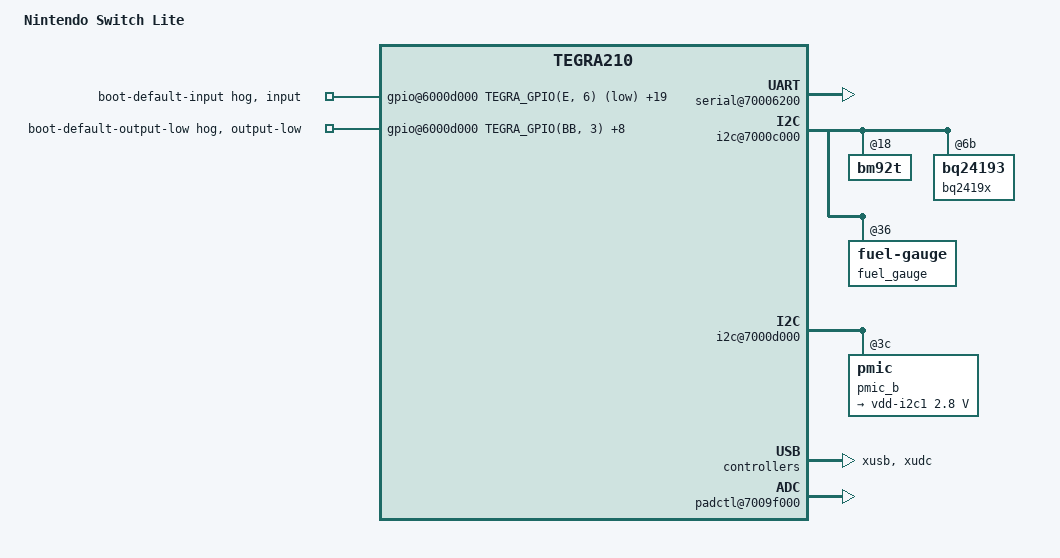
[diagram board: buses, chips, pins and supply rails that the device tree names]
// SPDX-License-Identifier: GPL-2.0
/dts-v1/;

#include "tegra210b01-nx.dtsi"

/ {
	model = "Nintendo Switch Lite";
	compatible = "nvidia,vali", "nintendo,hoag", "nintendo,nx", "nvidia,tegra210b01", "nvidia,tegra210";

	pinmux: pinmux@700008d4 {
		status = "okay";
		pinctrl-names = "default";
		pinctrl-0 = <&pinmux_default>;

		pinmux_default: common {
			/* SFIO Pin Configuration */
			aud_mclk_pbb0 { /* 3180 */
				nvidia,pins = "aud_mclk_pbb0";
				nvidia,function = "aud";
				nvidia,pull = <TEGRA_PIN_PULL_NONE>;
				nvidia,tristate = <TEGRA_PIN_DISABLE>;
				nvidia,enable-input = <TEGRA_PIN_DISABLE>;
				nvidia,pull-down-strength = <0x10>;
				nvidia,pull-up-strength = <0x10>;
			};

			dvfs_pwm_pbb1 { /* 3184 */
				nvidia,pins = "dvfs_pwm_pbb1";
				nvidia,function = "rsvd0";
				nvidia,pull = <TEGRA_PIN_PULL_DOWN>;
				nvidia,tristate = <TEGRA_PIN_ENABLE>;
				nvidia,enable-input = <TEGRA_PIN_DISABLE>;
				nvidia,pull-down-strength = <0x04>;
				nvidia,pull-up-strength = <0x14>;
			};

			dap1_din_pb1 { /* 3128 */
				nvidia,pins = "dap1_din_pb1";
				nvidia,function = "i2s1";
				nvidia,pull = <TEGRA_PIN_PULL_DOWN>;
				nvidia,tristate = <TEGRA_PIN_ENABLE>;
				nvidia,enable-input = <TEGRA_PIN_ENABLE>;
			};

			dap1_dout_pb2 { /* 312c */
				nvidia,pins = "dap1_dout_pb2";
				nvidia,function = "i2s1";
				nvidia,pull = <TEGRA_PIN_PULL_NONE>;
				nvidia,tristate = <TEGRA_PIN_DISABLE>;
				nvidia,enable-input = <TEGRA_PIN_DISABLE>;
			};

			dap1_fs_pb0 { /* 3124 */
				nvidia,pins = "dap1_fs_pb0";
				nvidia,function = "i2s1";
				nvidia,pull = <TEGRA_PIN_PULL_NONE>;
				nvidia,tristate = <TEGRA_PIN_DISABLE>;
				nvidia,enable-input = <TEGRA_PIN_DISABLE>;
			};

			dap1_sclk_pb3 { /* 3130 */
				nvidia,pins = "dap1_sclk_pb3";
				nvidia,function = "i2s1";
				nvidia,pull = <TEGRA_PIN_PULL_NONE>;
				nvidia,tristate = <TEGRA_PIN_DISABLE>;
				nvidia,enable-input = <TEGRA_PIN_DISABLE>;
			};

			dmic1_clk_pe0 { /* 30a4 */
				nvidia,pins = "dmic1_clk_pe0";
				nvidia,function = "rsvd2";
				nvidia,pull = <TEGRA_PIN_PULL_DOWN>;
				nvidia,tristate = <TEGRA_PIN_DISABLE>;
				nvidia,enable-input = <TEGRA_PIN_DISABLE>;
				nvidia,pull-down-strength = <0x10>;
				nvidia,pull-up-strength = <0x10>;
			};

			dmic1_dat_pe1 { /* 30a8 */
				nvidia,pins = "dmic1_dat_pe1";
				nvidia,function = "rsvd2";
				nvidia,pull = <TEGRA_PIN_PULL_DOWN>;
				nvidia,tristate = <TEGRA_PIN_DISABLE>;
				nvidia,enable-input = <TEGRA_PIN_DISABLE>;
				nvidia,pull-down-strength = <0x10>;
				nvidia,pull-up-strength = <0x10>;
			};

			dmic2_clk_pe2 { /* 30ac */
				nvidia,pins = "dmic2_clk_pe2";
				nvidia,function = "rsvd2";
				nvidia,pull = <TEGRA_PIN_PULL_DOWN>;
				nvidia,tristate = <TEGRA_PIN_DISABLE>;
				nvidia,enable-input = <TEGRA_PIN_DISABLE>;
				nvidia,pull-down-strength = <0x10>;
				nvidia,pull-up-strength = <0x10>;
			};

			dmic2_dat_pe3 { /* 30b0 */
				nvidia,pins = "dmic2_dat_pe3";
				nvidia,function = "rsvd2";
				nvidia,pull = <TEGRA_PIN_PULL_DOWN>;
				nvidia,tristate = <TEGRA_PIN_DISABLE>;
				nvidia,enable-input = <TEGRA_PIN_DISABLE>;
				nvidia,pull-down-strength = <0x10>;
				nvidia,pull-up-strength = <0x10>;
			};

			/* SD Card Power Enable */
			dmic3_clk_pe4 { /* 30b4 */
				nvidia,pins = "dmic3_clk_pe4";
				nvidia,function = "rsvd2";
				nvidia,pull = <TEGRA_PIN_PULL_DOWN>;
				nvidia,tristate = <TEGRA_PIN_DISABLE>;
				nvidia,enable-input = <TEGRA_PIN_DISABLE>;
				nvidia,pull-down-strength = <0x1F>;
				nvidia,pull-up-strength = <0x1F>;
			};

			/* Gamecard Power Enable */
			dmic3_dat_pe5 { /* 30b8 */
				nvidia,pins = "dmic3_dat_pe5";
				nvidia,function = "rsvd2";
				nvidia,pull = <TEGRA_PIN_PULL_DOWN>;
				nvidia,tristate = <TEGRA_PIN_ENABLE>;
				nvidia,enable-input = <TEGRA_PIN_DISABLE>;
				nvidia,pull-down-strength = <0x1F>;
				nvidia,pull-up-strength = <0x1F>;
			};

			gen3_i2c_scl_pf0 { /* 30cc */
				nvidia,pins = "gen3_i2c_scl_pf0";
				nvidia,function = "i2c3";
				nvidia,pull = <TEGRA_PIN_PULL_NONE>;
				nvidia,tristate = <TEGRA_PIN_DISABLE>;
				nvidia,enable-input = <TEGRA_PIN_ENABLE>;
				nvidia,io-high-voltage = <TEGRA_PIN_DISABLE>;
				nvidia,lpdr = <TEGRA_PIN_DISABLE>;
				nvidia,pull-down-strength = <0x7>;
				nvidia,pull-up-strength = <0x00>;
			};

			gen3_i2c_sda_pf1 { /* 30d0 */
				nvidia,pins = "gen3_i2c_sda_pf1";
				nvidia,function = "i2c3";
				nvidia,pull = <TEGRA_PIN_PULL_NONE>;
				nvidia,tristate = <TEGRA_PIN_DISABLE>;
				nvidia,enable-input = <TEGRA_PIN_ENABLE>;
				nvidia,io-high-voltage = <TEGRA_PIN_DISABLE>;
				nvidia,lpdr = <TEGRA_PIN_DISABLE>;
				nvidia,pull-down-strength = <0x7>;
				nvidia,pull-up-strength = <0x00>;
			};

			cam_i2c_scl_ps2 { /* 30d4 */
				nvidia,pins = "cam_i2c_scl_ps2";
				nvidia,function = "rsvd2";
				nvidia,pull = <TEGRA_PIN_PULL_DOWN>;
				nvidia,tristate = <TEGRA_PIN_ENABLE>;
				nvidia,enable-input = <TEGRA_PIN_DISABLE>;
				nvidia,io-high-voltage = <TEGRA_PIN_ENABLE>;
				nvidia,pull-down-strength = <0x1F>;
				nvidia,pull-up-strength = <0x00>;
			};

			/* Gamecard Detect */
			cam_i2c_sda_ps3 { /* 30d8 */
				nvidia,pins = "cam_i2c_sda_ps3";
				nvidia,function = "rsvd2";
				nvidia,pull = <TEGRA_PIN_PULL_UP>;
				nvidia,tristate = <TEGRA_PIN_ENABLE>;
				nvidia,enable-input = <TEGRA_PIN_ENABLE>;
				nvidia,io-high-voltage = <TEGRA_PIN_DISABLE>;
				nvidia,pull-down-strength = <0x1F>;
				nvidia,pull-up-strength = <0x00>;
			};

			cam1_mclk_ps0 { /* 3154 */
				nvidia,pins = "cam1_mclk_ps0";
				nvidia,function = "rsvd1";
				nvidia,pull = <TEGRA_PIN_PULL_DOWN>;
				nvidia,tristate = <TEGRA_PIN_ENABLE>;
				nvidia,enable-input = <TEGRA_PIN_DISABLE>;
				nvidia,pull-down-strength = <0x10>;
				nvidia,pull-up-strength = <0x10>;
			};

			/* Charger IC (BQ24193) Battery Charge Status */
			cam2_mclk_ps1 { /* 3158 */
				nvidia,pins = "cam2_mclk_ps1";
				nvidia,function = "rsvd1";
				nvidia,pull = <TEGRA_PIN_PULL_NONE>;
				nvidia,tristate = <TEGRA_PIN_ENABLE>;
				nvidia,enable-input = <TEGRA_PIN_ENABLE>;
				nvidia,pull-down-strength = <0x10>;
				nvidia,pull-up-strength = <0x10>;
			};

			pex_l0_clkreq_n_pa1 { /* 303c PARKED */
				nvidia,pins = "pex_l0_clkreq_n_pa1";
				nvidia,function = "pe0";
				nvidia,pull = <TEGRA_PIN_PULL_NONE>;
				nvidia,tristate = <TEGRA_PIN_ENABLE>;
				nvidia,enable-input = <TEGRA_PIN_DISABLE>;
				nvidia,io-high-voltage = <TEGRA_PIN_DISABLE>;
			};

			pex_l0_rst_n_pa0 { /* 3038 */
				nvidia,pins = "pex_l0_rst_n_pa0";
				nvidia,function = "pe0";
				nvidia,pull = <TEGRA_PIN_PULL_NONE>;
				nvidia,tristate = <TEGRA_PIN_DISABLE>;
				nvidia,enable-input = <TEGRA_PIN_DISABLE>;
				nvidia,io-high-voltage = <TEGRA_PIN_DISABLE>;
			};

			pex_l1_clkreq_n_pa4 { /* 3048 */
				nvidia,pins = "pex_l1_clkreq_n_pa4";
				nvidia,function = "pe1";
				nvidia,pull = <TEGRA_PIN_PULL_NONE>;
				nvidia,tristate = <TEGRA_PIN_DISABLE>;
				nvidia,enable-input = <TEGRA_PIN_ENABLE>;
				nvidia,io-high-voltage = <TEGRA_PIN_DISABLE>;
			};

			pex_l1_rst_n_pa3 { /* 3044 */
				nvidia,pins = "pex_l1_rst_n_pa3";
				nvidia,function = "pe1";
				nvidia,pull = <TEGRA_PIN_PULL_NONE>;
				nvidia,tristate = <TEGRA_PIN_DISABLE>;
				nvidia,enable-input = <TEGRA_PIN_DISABLE>;
				nvidia,io-high-voltage = <TEGRA_PIN_DISABLE>;
			};

			pex_wake_n_pa2 { /* 3040 */
				nvidia,pins = "pex_wake_n_pa2";
				nvidia,function = "pe";
				nvidia,pull = <TEGRA_PIN_PULL_NONE>;
				nvidia,tristate = <TEGRA_PIN_ENABLE>;
				nvidia,enable-input = <TEGRA_PIN_ENABLE>;
				nvidia,io-high-voltage = <TEGRA_PIN_DISABLE>;
			};

			sdmmc1_clk_pm0 { /* 3000 */
				nvidia,pins = "sdmmc1_clk_pm0";
				nvidia,function = "sdmmc1";
				nvidia,pull = <TEGRA_PIN_PULL_NONE>;
				nvidia,tristate = <TEGRA_PIN_DISABLE>;
				nvidia,enable-input = <TEGRA_PIN_ENABLE>;
			};

			sdmmc1_cmd_pm1 { /* 3004 */
				nvidia,pins = "sdmmc1_cmd_pm1";
				nvidia,function = "sdmmc1";
				nvidia,pull = <TEGRA_PIN_PULL_UP>;
				nvidia,tristate = <TEGRA_PIN_DISABLE>;
				nvidia,enable-input = <TEGRA_PIN_ENABLE>;
				nvidia,schmitt = <TEGRA_PIN_ENABLE>;
			};

			sdmmc1_dat0_pm5 { /* 3008 */
				nvidia,pins = "sdmmc1_dat0_pm5";
				nvidia,function = "sdmmc1";
				nvidia,pull = <TEGRA_PIN_PULL_UP>;
				nvidia,tristate = <TEGRA_PIN_DISABLE>;
				nvidia,enable-input = <TEGRA_PIN_ENABLE>;
				nvidia,schmitt = <TEGRA_PIN_ENABLE>;
			};

			sdmmc1_dat1_pm4 { /* 300C */
				nvidia,pins = "sdmmc1_dat1_pm4";
				nvidia,function = "sdmmc1";
				nvidia,pull = <TEGRA_PIN_PULL_UP>;
				nvidia,tristate = <TEGRA_PIN_DISABLE>;
				nvidia,enable-input = <TEGRA_PIN_ENABLE>;
				nvidia,schmitt = <TEGRA_PIN_ENABLE>;
			};

			sdmmc1_dat2_pm3 { /* 3010 */
				nvidia,pins = "sdmmc1_dat2_pm3";
				nvidia,function = "sdmmc1";
				nvidia,pull = <TEGRA_PIN_PULL_UP>;
				nvidia,tristate = <TEGRA_PIN_DISABLE>;
				nvidia,enable-input = <TEGRA_PIN_ENABLE>;
				nvidia,schmitt = <TEGRA_PIN_ENABLE>;
			};

			sdmmc1_dat3_pm2 { /* 3014 */
				nvidia,pins = "sdmmc1_dat3_pm2";
				nvidia,function = "sdmmc1";
				nvidia,pull = <TEGRA_PIN_PULL_UP>;
				nvidia,tristate = <TEGRA_PIN_DISABLE>;
				nvidia,enable-input = <TEGRA_PIN_ENABLE>;
				nvidia,schmitt = <TEGRA_PIN_ENABLE>;
			};

			sdmmc3_clk_pp0 { /* 301c */
				nvidia,pins = "sdmmc3_clk_pp0";
				nvidia,function = "rsvd1";
				nvidia,pull = <TEGRA_PIN_PULL_DOWN>;
				nvidia,tristate = <TEGRA_PIN_ENABLE>;
				nvidia,enable-input = <TEGRA_PIN_DISABLE>;
			};

			sdmmc3_cmd_pp1 { /* 3020 */
				nvidia,pins = "sdmmc3_cmd_pp1";
				nvidia,function = "rsvd1";
				nvidia,pull = <TEGRA_PIN_PULL_DOWN>;
				nvidia,tristate = <TEGRA_PIN_ENABLE>;
				nvidia,enable-input = <TEGRA_PIN_DISABLE>;
			};

			sdmmc3_dat0_pp5 { /* 3024 */
				nvidia,pins = "sdmmc3_dat0_pp5";
				nvidia,function = "rsvd1";
				nvidia,pull = <TEGRA_PIN_PULL_DOWN>;
				nvidia,tristate = <TEGRA_PIN_ENABLE>;
				nvidia,enable-input = <TEGRA_PIN_DISABLE>;
			};

			sdmmc3_dat1_pp4 { /* 3028 */
				nvidia,pins = "sdmmc3_dat1_pp4";
				nvidia,function = "rsvd1";
				nvidia,pull = <TEGRA_PIN_PULL_DOWN>;
				nvidia,tristate = <TEGRA_PIN_ENABLE>;
				nvidia,enable-input = <TEGRA_PIN_DISABLE>;
			};

			sdmmc3_dat2_pp3 { /* 302C */
				nvidia,pins = "sdmmc3_dat2_pp3";
				nvidia,function = "rsvd1";
				nvidia,pull = <TEGRA_PIN_PULL_DOWN>;
				nvidia,tristate = <TEGRA_PIN_ENABLE>;
				nvidia,enable-input = <TEGRA_PIN_DISABLE>;
			};

			sdmmc3_dat3_pp2 { /* 3030 */
				nvidia,pins = "sdmmc3_dat3_pp2";
				nvidia,function = "rsvd1";
				nvidia,pull = <TEGRA_PIN_PULL_DOWN>;
				nvidia,tristate = <TEGRA_PIN_ENABLE>;
				nvidia,enable-input = <TEGRA_PIN_DISABLE>;
			};

			shutdown { /* 3178 */
				nvidia,pins = "shutdown";
				nvidia,function = "shutdown";
				nvidia,pull = <TEGRA_PIN_PULL_NONE>;
				nvidia,tristate = <TEGRA_PIN_DISABLE>;
				nvidia,enable-input = <TEGRA_PIN_DISABLE>;
			};

			lcd_te_py2 { /* 31f8 */
				nvidia,pins = "lcd_te_py2";
				nvidia,function = "rsvd1";
				nvidia,pull = <TEGRA_PIN_PULL_DOWN>;
				nvidia,tristate = <TEGRA_PIN_ENABLE>;
				nvidia,enable-input = <TEGRA_PIN_DISABLE>;
			};

			// /* LCD Backlight PWM */
			// lcd_bl_pwm_pv0 { /* 31fc */
			// 	nvidia,pins = "lcd_bl_pwm_pv0";
			// 	nvidia,function = "pwm0";
			// 	nvidia,pull = <TEGRA_PIN_PULL_DOWN>;
			// 	nvidia,tristate = <TEGRA_PIN_DISABLE>;
			// 	nvidia,enable-input = <TEGRA_PIN_DISABLE>;
			// };

			/* Fan PWM */
			lcd_gpio2_pv4 { /* 320c */
				nvidia,pins = "lcd_gpio2_pv4";
				nvidia,function = "pwm1";
				nvidia,pull = <TEGRA_PIN_PULL_NONE>;
				nvidia,tristate = <TEGRA_PIN_DISABLE>;
				nvidia,enable-input = <TEGRA_PIN_DISABLE>;
			};

			pwr_i2c_scl_py3 { /* 30dc */
				nvidia,pins = "pwr_i2c_scl_py3";
				nvidia,function = "i2cpmu";
				nvidia,pull = <TEGRA_PIN_PULL_NONE>;
				nvidia,tristate = <TEGRA_PIN_DISABLE>;
				nvidia,enable-input = <TEGRA_PIN_ENABLE>;
				nvidia,io-high-voltage = <TEGRA_PIN_DISABLE>;
				nvidia,pull-down-strength = <0x1F>;
				nvidia,pull-up-strength = <0x00>;
			};

			pwr_i2c_sda_py4 { /* 30e0 */
				nvidia,pins = "pwr_i2c_sda_py4";
				nvidia,function = "i2cpmu";
				nvidia,pull = <TEGRA_PIN_PULL_NONE>;
				nvidia,tristate = <TEGRA_PIN_DISABLE>;
				nvidia,enable-input = <TEGRA_PIN_ENABLE>;
				nvidia,io-high-voltage = <TEGRA_PIN_DISABLE>;
				nvidia,pull-down-strength = <0x1F>;
				nvidia,pull-up-strength = <0x00>;
			};

			clk_32k_in { /* 3160 */
				nvidia,pins = "clk_32k_in";
				nvidia,function = "clk";
				nvidia,pull = <TEGRA_PIN_PULL_NONE>;
				nvidia,tristate = <TEGRA_PIN_DISABLE>;
				nvidia,enable-input = <TEGRA_PIN_DISABLE>;
			};

			/* Notification LED Clock */
			clk_32k_out_py5 { /* 3164 */
				nvidia,pins = "clk_32k_out_py5";
				nvidia,function = "blink";
				nvidia,pull = <TEGRA_PIN_PULL_NONE>;
				nvidia,tristate = <TEGRA_PIN_DISABLE>;
				nvidia,enable-input = <TEGRA_PIN_DISABLE>;
			};

			/* SD Card Detect */
			pz1 { /* 3280 */
				nvidia,pins = "pz1";
				nvidia,function = "rsvd2";
				nvidia,pull = <TEGRA_PIN_PULL_UP>;
				nvidia,tristate = <TEGRA_PIN_DISABLE>;
				nvidia,enable-input = <TEGRA_PIN_ENABLE>;
			};

			/* Audio Codec (ALC5639) Power Enable */
			pz4 { /* 328c */
				nvidia,pins = "pz4";
				nvidia,function = "rsvd1";
				nvidia,pull = <TEGRA_PIN_PULL_DOWN>;
				nvidia,tristate = <TEGRA_PIN_DISABLE>;
				nvidia,enable-input = <TEGRA_PIN_DISABLE>;
			};

			pz5 { /* 3290 */
				nvidia,pins = "pz5";
				nvidia,function = "rsvd1";
				nvidia,pull = <TEGRA_PIN_PULL_DOWN>;
				nvidia,tristate = <TEGRA_PIN_ENABLE>;
				nvidia,enable-input = <TEGRA_PIN_DISABLE>;
			};

			clk_req { /* 316c */
				nvidia,pins = "clk_req";
				nvidia,function = "sys";
				nvidia,pull = <TEGRA_PIN_PULL_NONE>;
				nvidia,tristate = <TEGRA_PIN_DISABLE>;
				nvidia,enable-input = <TEGRA_PIN_ENABLE>;
			};

			core_pwr_req { /* 317c */
				nvidia,pins = "core_pwr_req";
				nvidia,function = "core";
				nvidia,pull = <TEGRA_PIN_PULL_NONE>;
				nvidia,tristate = <TEGRA_PIN_DISABLE>;
				nvidia,enable-input = <TEGRA_PIN_DISABLE>;
			};

			cpu_pwr_req { /* 3170 */
				nvidia,pins = "cpu_pwr_req";
				nvidia,function = "cpu";
				nvidia,pull = <TEGRA_PIN_PULL_NONE>;
				nvidia,tristate = <TEGRA_PIN_DISABLE>;
				nvidia,enable-input = <TEGRA_PIN_ENABLE>;
			};

			pwr_int_n { /* 3174 */
				nvidia,pins = "pwr_int_n";
				nvidia,function = "pmi";
				nvidia,pull = <TEGRA_PIN_PULL_NONE>;
				nvidia,tristate = <TEGRA_PIN_DISABLE>;
				nvidia,enable-input = <TEGRA_PIN_ENABLE>;
			};

			dap4_din_pj5 { /* 3148 */
				nvidia,pins = "dap4_din_pj5";
				nvidia,function = "rsvd1";
				nvidia,pull = <TEGRA_PIN_PULL_DOWN>;
				nvidia,tristate = <TEGRA_PIN_ENABLE>;
				nvidia,enable-input = <TEGRA_PIN_DISABLE>;
				nvidia,pull-down-strength = <0x10>;
				nvidia,pull-up-strength = <0x10>;
			};

			/* NFC Power Enable */
			dap4_dout_pj6 { /* 314c */
				nvidia,pins = "dap4_dout_pj6";
				nvidia,function = "rsvd1";
				nvidia,pull = <TEGRA_PIN_PULL_DOWN>;
				nvidia,tristate = <TEGRA_PIN_DISABLE>;
				nvidia,enable-input = <TEGRA_PIN_DISABLE>;
				nvidia,pull-down-strength = <0x10>;
				nvidia,pull-up-strength = <0x10>;
			};

			/* NFC IRQ */
			dap4_fs_pj4 { /* 3144 */
				nvidia,pins = "dap4_fs_pj4";
				nvidia,function = "rsvd1";
				nvidia,pull = <TEGRA_PIN_PULL_DOWN>;
				nvidia,tristate = <TEGRA_PIN_ENABLE>;
				nvidia,enable-input = <TEGRA_PIN_ENABLE>;
				nvidia,pull-down-strength = <0x10>;
				nvidia,pull-up-strength = <0x10>;
			};

			/* Touchscreen (4CD60D) Reset */
			dap4_sclk_pj7 { /* 3150 */
				nvidia,pins = "dap4_sclk_pj7";
				nvidia,function = "rsvd1";
				nvidia,pull = <TEGRA_PIN_PULL_DOWN>;
				nvidia,tristate = <TEGRA_PIN_DISABLE>;
				nvidia,enable-input = <TEGRA_PIN_DISABLE>;
				nvidia,pull-down-strength = <0x10>;
				nvidia,pull-up-strength = <0x10>;
			};

			gen1_i2c_scl_pj1 { /* 30bc */
				nvidia,pins = "gen1_i2c_scl_pj1";
				nvidia,function = "i2c1";
				nvidia,pull = <TEGRA_PIN_PULL_NONE>;
				nvidia,tristate = <TEGRA_PIN_DISABLE>;
				nvidia,enable-input = <TEGRA_PIN_ENABLE>;
				nvidia,io-high-voltage = <TEGRA_PIN_DISABLE>;
				nvidia,pull-down-strength = <0x1F>;
				nvidia,pull-up-strength = <0x00>;
			};

			gen1_i2c_sda_pj0 { /* 30c0 */
				nvidia,pins = "gen1_i2c_sda_pj0";
				nvidia,function = "i2c1";
				nvidia,pull = <TEGRA_PIN_PULL_NONE>;
				nvidia,tristate = <TEGRA_PIN_DISABLE>;
				nvidia,enable-input = <TEGRA_PIN_ENABLE>;
				nvidia,io-high-voltage = <TEGRA_PIN_DISABLE>;
				nvidia,pull-down-strength = <0x1F>;
				nvidia,pull-up-strength = <0x00>;
			};

			gen2_i2c_scl_pj2 { /* 30c4 */
				nvidia,pins = "gen2_i2c_scl_pj2";
				nvidia,function = "i2c2";
				nvidia,pull = <TEGRA_PIN_PULL_NONE>;
				nvidia,tristate = <TEGRA_PIN_DISABLE>;
				nvidia,enable-input = <TEGRA_PIN_ENABLE>;
				nvidia,io-high-voltage = <TEGRA_PIN_DISABLE>;
				nvidia,pull-down-strength = <0x4>;
				nvidia,pull-up-strength = <0x00>;
			};

			gen2_i2c_sda_pj3 { /* 30c8 */
				nvidia,pins = "gen2_i2c_sda_pj3";
				nvidia,function = "i2c2";
				nvidia,pull = <TEGRA_PIN_PULL_NONE>;
				nvidia,tristate = <TEGRA_PIN_DISABLE>;
				nvidia,enable-input = <TEGRA_PIN_ENABLE>;
				nvidia,io-high-voltage = <TEGRA_PIN_DISABLE>;
				nvidia,pull-down-strength = <0x4>;
				nvidia,pull-up-strength = <0x00>;
			};

			uart1_tx_pu0 { /* 30e4 */
				nvidia,pins = "uart1_tx_pu0";
				nvidia,function = "uarta";
				nvidia,pull = <TEGRA_PIN_PULL_NONE>;
				nvidia,tristate = <TEGRA_PIN_DISABLE>;
				nvidia,enable-input = <TEGRA_PIN_DISABLE>;
			};

			uart1_rx_pu1 { /* 30e8 */
				nvidia,pins = "uart1_rx_pu1";
				nvidia,function = "uarta";
				nvidia,pull = <TEGRA_PIN_PULL_UP>;
				nvidia,tristate = <TEGRA_PIN_ENABLE>;
				nvidia,enable-input = <TEGRA_PIN_ENABLE>;
			};

			uart1_rts_pu2 { /* 30ec */
				nvidia,pins = "uart1_rts_pu2";
				nvidia,function = "uarta";
				nvidia,pull = <TEGRA_PIN_PULL_NONE>;
				nvidia,tristate = <TEGRA_PIN_DISABLE>;
				nvidia,enable-input = <TEGRA_PIN_DISABLE>;
			};

			uart1_cts_pu3 { /* 30f0 */
				nvidia,pins = "uart1_cts_pu3";
				nvidia,function = "uarta";
				nvidia,pull = <TEGRA_PIN_PULL_DOWN>;
				nvidia,tristate = <TEGRA_PIN_ENABLE>;
				nvidia,enable-input = <TEGRA_PIN_ENABLE>;
			};

			jtag_rtck { /* 315c */
				nvidia,pins = "jtag_rtck";
				nvidia,function = "jtag";
				nvidia,pull = <TEGRA_PIN_PULL_UP>;
				nvidia,tristate = <TEGRA_PIN_DISABLE>;
				nvidia,enable-input = <TEGRA_PIN_DISABLE>;
			};

			/* Bluetooth GPIO2 */
			pk0 { /* 3254 */
				nvidia,pins = "pk0";
				nvidia,function = "rsvd2";
				nvidia,pull = <TEGRA_PIN_PULL_DOWN>;
				nvidia,tristate = <TEGRA_PIN_DISABLE>;
				nvidia,enable-input = <TEGRA_PIN_ENABLE>;
			};

			/* Bluetooth GPIO3 */
			pk1 { /* 3258 */
				nvidia,pins = "pk1";
				nvidia,function = "rsvd2";
				nvidia,pull = <TEGRA_PIN_PULL_DOWN>;
				nvidia,tristate = <TEGRA_PIN_DISABLE>;
				nvidia,enable-input = <TEGRA_PIN_ENABLE>;
			};

			/* Bluetooth GPIO4 */
			pk2 { /* 325c */
				nvidia,pins = "pk2";
				nvidia,function = "rsvd2";
				nvidia,pull = <TEGRA_PIN_PULL_NONE>;
				nvidia,tristate = <TEGRA_PIN_DISABLE>;
				nvidia,enable-input = <TEGRA_PIN_ENABLE>;
			};

			/* Joycon (R) Charge Enable */
			pk3 { /* 3260 */
				nvidia,pins = "pk3";
				nvidia,function = "rsvd2";
				nvidia,pull = <TEGRA_PIN_PULL_DOWN>;
				nvidia,tristate = <TEGRA_PIN_ENABLE>;
				nvidia,enable-input = <TEGRA_PIN_DISABLE>;
			};

			/* Joycon (L) Charge Enable */
			spdif_in_pcc3 { /* 31a4 */
				nvidia,pins = "spdif_in_pcc3";
				nvidia,function = "rsvd1";
				nvidia,pull = <TEGRA_PIN_PULL_DOWN>;
				nvidia,tristate = <TEGRA_PIN_ENABLE>;
				nvidia,enable-input = <TEGRA_PIN_DISABLE>;
			};

			pl1 { /* 3278 */
				nvidia,pins = "pl1";
				nvidia,function = "soc";
				nvidia,pull = <TEGRA_PIN_PULL_UP>;
				nvidia,tristate = <TEGRA_PIN_ENABLE>;
				nvidia,enable-input = <TEGRA_PIN_ENABLE>;
			};

			spi1_mosi_pc0 { /* 3050 */
				nvidia,pins = "spi1_mosi_pc0";
				nvidia,function = "rsvd1";
				nvidia,pull = <TEGRA_PIN_PULL_DOWN>;
				nvidia,tristate = <TEGRA_PIN_ENABLE>;
				nvidia,enable-input = <TEGRA_PIN_DISABLE>;
			};

			spi1_miso_pc1 { /* 3054 */
				nvidia,pins = "spi1_miso_pc1";
				nvidia,function = "rsvd1";
				nvidia,pull = <TEGRA_PIN_PULL_DOWN>;
				nvidia,tristate = <TEGRA_PIN_ENABLE>;
				nvidia,enable-input = <TEGRA_PIN_DISABLE>;
			};

			spi1_sck_pc2 { /* 3058 */
				nvidia,pins = "spi1_sck_pc2";
				nvidia,function = "rsvd1";
				nvidia,pull = <TEGRA_PIN_PULL_DOWN>;
				nvidia,tristate = <TEGRA_PIN_ENABLE>;
				nvidia,enable-input = <TEGRA_PIN_DISABLE>;
			};

			spi1_cs0_pc3 { /* 305c */
				nvidia,pins = "spi1_cs0_pc3";
				nvidia,function = "rsvd1";
				nvidia,pull = <TEGRA_PIN_PULL_DOWN>;
				nvidia,tristate = <TEGRA_PIN_ENABLE>;
				nvidia,enable-input = <TEGRA_PIN_DISABLE>;
			};

			spi1_cs1_pc4 { /* 3060 */
				nvidia,pins = "spi1_cs1_pc4";
				nvidia,function = "rsvd1";
				nvidia,pull = <TEGRA_PIN_PULL_DOWN>;
				nvidia,tristate = <TEGRA_PIN_ENABLE>;
				nvidia,enable-input = <TEGRA_PIN_DISABLE>;
			};

			/* For Sio only access */
			spi4_mosi_pc7 { /* 3078 */
				nvidia,pins = "spi4_mosi_pc7";
				nvidia,function = "rsvd1";
				nvidia,pull = <TEGRA_PIN_PULL_NONE>;
				nvidia,tristate = <TEGRA_PIN_DISABLE>;
				nvidia,enable-input = <TEGRA_PIN_ENABLE>;
			};

			spi4_miso_pd0 { /* 307c */
				nvidia,pins = "spi4_miso_pd0";
				nvidia,function = "rsvd1";
				nvidia,pull = <TEGRA_PIN_PULL_NONE>;
				nvidia,tristate = <TEGRA_PIN_DISABLE>;
				nvidia,enable-input = <TEGRA_PIN_ENABLE>;
			};

			spi4_sck_pc5 { /* 3080 */
				nvidia,pins = "spi4_sck_pc5";
				nvidia,function = "rsvd1";
				nvidia,pull = <TEGRA_PIN_PULL_NONE>;
				nvidia,tristate = <TEGRA_PIN_DISABLE>;
				nvidia,enable-input = <TEGRA_PIN_ENABLE>;
			};

			spi4_cs0_pc6 { /* 0x3084 */
				nvidia,pins = "spi4_cs0_pc6";
				nvidia,function = "rsvd1";
				nvidia,pull = <TEGRA_PIN_PULL_NONE>;
				nvidia,tristate = <TEGRA_PIN_DISABLE>;
				nvidia,enable-input = <TEGRA_PIN_ENABLE>;
			};
			/* End of Sio only access */

			uart2_tx_pg0 { /* 30f4 */
				nvidia,pins = "uart2_tx_pg0";
				nvidia,function = "uartb";
				nvidia,pull = <TEGRA_PIN_PULL_DOWN>;
				nvidia,tristate = <TEGRA_PIN_ENABLE>;
				nvidia,enable-input = <TEGRA_PIN_DISABLE>;
			};

			uart2_rx_pg1 { /* 30f8 */
				nvidia,pins = "uart2_rx_pg1";
				nvidia,function = "uartb";
				nvidia,pull = <TEGRA_PIN_PULL_DOWN>;
				nvidia,tristate = <TEGRA_PIN_ENABLE>;
				nvidia,enable-input = <TEGRA_PIN_DISABLE>;
			};

			uart2_rts_pg2 { /* 30fc */
				nvidia,pins = "uart2_rts_pg2";
				nvidia,function = "rsvd2";
				nvidia,pull = <TEGRA_PIN_PULL_DOWN>;
				nvidia,tristate = <TEGRA_PIN_ENABLE>;
				nvidia,enable-input = <TEGRA_PIN_DISABLE>;
			};

			uart2_cts_pg3 { /* 3100 */
				nvidia,pins = "uart2_cts_pg3";
				nvidia,function = "rsvd2";
				nvidia,pull = <TEGRA_PIN_PULL_DOWN>;
				nvidia,tristate = <TEGRA_PIN_ENABLE>;
				nvidia,enable-input = <TEGRA_PIN_DISABLE>;
			};

			uart3_tx_pd1 { /* 3104 */
				nvidia,pins = "uart3_tx_pd1";
				nvidia,function = "uartc";
				nvidia,pull = <TEGRA_PIN_PULL_NONE>;
				nvidia,tristate = <TEGRA_PIN_DISABLE>;
				nvidia,enable-input = <TEGRA_PIN_DISABLE>;
				nvidia,pull-down-strength = <0x04>;
				nvidia,pull-up-strength = <0x14>;
			};

			uart3_rx_pd2 { /* 3108 */
				nvidia,pins = "uart3_rx_pd2";
				nvidia,function = "uartc";
				nvidia,pull = <TEGRA_PIN_PULL_NONE>;
				nvidia,tristate = <TEGRA_PIN_ENABLE>;
				nvidia,enable-input = <TEGRA_PIN_ENABLE>;
				nvidia,pull-down-strength = <0x04>;
				nvidia,pull-up-strength = <0x14>;
			};

			uart3_rts_pd3 { /* 310C */
				nvidia,pins = "uart3_rts_pd3";
				nvidia,function = "uartc";
				nvidia,pull = <TEGRA_PIN_PULL_NONE>;
				nvidia,tristate = <TEGRA_PIN_DISABLE>;
				nvidia,enable-input = <TEGRA_PIN_DISABLE>;
				nvidia,pull-down-strength = <0x04>;
				nvidia,pull-up-strength = <0x14>;
			};

			uart3_cts_pd4 { /* 3110 */
				nvidia,pins = "uart3_cts_pd4";
				nvidia,function = "uartc";
				nvidia,pull = <TEGRA_PIN_PULL_UP>;
				nvidia,tristate = <TEGRA_PIN_ENABLE>;
				nvidia,enable-input = <TEGRA_PIN_ENABLE>;
				nvidia,pull-down-strength = <0x04>;
				nvidia,pull-up-strength = <0x14>;
			};

			uart4_tx_pi4 { /* 3114 */
				nvidia,pins = "uart4_tx_pi4";
				nvidia,function = "uartd";
				nvidia,pull = <TEGRA_PIN_PULL_NONE>;
				nvidia,tristate = <TEGRA_PIN_DISABLE>;
				nvidia,enable-input = <TEGRA_PIN_DISABLE>;
			};

			uart4_rx_pi5 { /* 3118 */
				nvidia,pins = "uart4_rx_pi5";
				nvidia,function = "uartd";
				nvidia,pull = <TEGRA_PIN_PULL_DOWN>;
				nvidia,tristate = <TEGRA_PIN_ENABLE>;
				nvidia,enable-input = <TEGRA_PIN_ENABLE>;
			};

			uart4_rts_pi6 { /* 311c */
				nvidia,pins = "uart4_rts_pi6";
				nvidia,function = "uartd";
				nvidia,pull = <TEGRA_PIN_PULL_NONE>;
				nvidia,tristate = <TEGRA_PIN_DISABLE>;
				nvidia,enable-input = <TEGRA_PIN_DISABLE>;
			};

			uart4_cts_pi7 { /* 3120 */
				nvidia,pins = "uart4_cts_pi7";
				nvidia,function = "uartd";
				nvidia,pull = <TEGRA_PIN_PULL_DOWN>;
				nvidia,tristate = <TEGRA_PIN_ENABLE>;
				nvidia,enable-input = <TEGRA_PIN_ENABLE>;
			};

			dap2_din_paa2 { /* 3138 */
				nvidia,pins = "dap2_din_paa2";
				nvidia,function = "i2s2";
				nvidia,pull = <TEGRA_PIN_PULL_DOWN>;
				nvidia,tristate = <TEGRA_PIN_ENABLE>;
				nvidia,enable-input = <TEGRA_PIN_ENABLE>;
			};

			dap2_dout_paa3 { /* 313c */
				nvidia,pins = "dap2_dout_paa3";
				nvidia,function = "i2s2";
				nvidia,pull = <TEGRA_PIN_PULL_NONE>;
				nvidia,tristate = <TEGRA_PIN_DISABLE>;
				nvidia,enable-input = <TEGRA_PIN_DISABLE>;
			};

			dap2_fs_paa0 { /* 3134 */
				nvidia,pins = "dap2_fs_paa0";
				nvidia,function = "i2s2";
				nvidia,pull = <TEGRA_PIN_PULL_NONE>;
				nvidia,tristate = <TEGRA_PIN_DISABLE>;
				nvidia,enable-input = <TEGRA_PIN_DISABLE>;
			};

			dap2_sclk_paa1 { /* 3140 */
				nvidia,pins = "dap2_sclk_paa1";
				nvidia,function = "i2s2";
				nvidia,pull = <TEGRA_PIN_PULL_NONE>;
				nvidia,tristate = <TEGRA_PIN_DISABLE>;
				nvidia,enable-input = <TEGRA_PIN_DISABLE>;
			};

			/* 5V Regulator - USB */
			usb_vbus_en0_pcc4 { /* 31a8 */
				nvidia,pins = "usb_vbus_en0_pcc4";
				nvidia,function = "rsvd1";
				nvidia,pull = <TEGRA_PIN_PULL_DOWN>;
				nvidia,tristate = <TEGRA_PIN_ENABLE>;
				nvidia,enable-input = <TEGRA_PIN_DISABLE>;
				nvidia,io-high-voltage = <TEGRA_PIN_ENABLE>;
			};

			/* Sio POR */
			usb_vbus_en1_pcc5 { /* 31ac */
				nvidia,pins = "usb_vbus_en1_pcc5";
				nvidia,function = "rsvd1";
				nvidia,pull = <TEGRA_PIN_PULL_NONE>;
				nvidia,tristate = <TEGRA_PIN_DISABLE>;
				nvidia,enable-input = <TEGRA_PIN_DISABLE>;
				nvidia,io-high-voltage = <TEGRA_PIN_ENABLE>;
			};

			hdmi_cec_pcc0 { /* 3198 */
				nvidia,pins = "hdmi_cec_pcc0";
				nvidia,function = "rsvd1";
				nvidia,pull = <TEGRA_PIN_PULL_DOWN>;
				nvidia,tristate = <TEGRA_PIN_ENABLE>;
				nvidia,enable-input = <TEGRA_PIN_DISABLE>;
				nvidia,io-high-voltage = <TEGRA_PIN_ENABLE>;
			};

			/* GPIO Pin Configuration */
			dvfs_clk_pbb2 { /* 3188 */
				nvidia,pins = "dvfs_clk_pbb2";
				nvidia,function = "rsvd0";
				nvidia,pull = <TEGRA_PIN_PULL_DOWN>;
				nvidia,tristate = <TEGRA_PIN_ENABLE>;
				nvidia,enable-input = <TEGRA_PIN_DISABLE>;
				nvidia,pull-down-strength = <0x1F>;
				nvidia,pull-up-strength = <0x1F>;
			};

			/* Gamecard Reset */
			gpio_x1_aud_pbb3 { /* 318c */
				nvidia,pins = "gpio_x1_aud_pbb3";
				nvidia,function = "rsvd0";
				nvidia,pull = <TEGRA_PIN_PULL_DOWN>;
				nvidia,tristate = <TEGRA_PIN_DISABLE>;
				nvidia,enable-input = <TEGRA_PIN_DISABLE>;
				nvidia,pull-down-strength = <0x04>;
				nvidia,pull-up-strength = <0x14>;
			};

			/* Audio Codec (ALC5639) Alert */
			gpio_x3_aud_pbb4 { /* 3190 */
				nvidia,pins = "gpio_x3_aud_pbb4";
				nvidia,function = "rsvd0";
				nvidia,pull = <TEGRA_PIN_PULL_DOWN>;
				nvidia,tristate = <TEGRA_PIN_ENABLE>;
				nvidia,enable-input = <TEGRA_PIN_ENABLE>;
				nvidia,pull-down-strength = <0x04>;
				nvidia,pull-up-strength = <0x14>;
			};

			/* Joycon (L) Wake Detect */
			pe6 { /* 3248 */
				nvidia,pins = "pe6";
				nvidia,function = "rsvd0";
				nvidia,pull = <TEGRA_PIN_PULL_NONE>;
				nvidia,tristate = <TEGRA_PIN_ENABLE>;
				nvidia,enable-input = <TEGRA_PIN_ENABLE>;
			};

			cam_rst_ps4 { /* 31e0 */
				nvidia,pins = "cam_rst_ps4";
				nvidia,function = "rsvd1";
				nvidia,pull = <TEGRA_PIN_PULL_DOWN>;
				nvidia,tristate = <TEGRA_PIN_ENABLE>;
				nvidia,enable-input = <TEGRA_PIN_DISABLE>;
			};

			cam_af_en_ps5 { /* 31e4 */
				nvidia,pins = "cam_af_en_ps5";
				nvidia,function = "rsvd2";
				nvidia,pull = <TEGRA_PIN_PULL_DOWN>;
				nvidia,tristate = <TEGRA_PIN_ENABLE>;
				nvidia,enable-input = <TEGRA_PIN_DISABLE>;
				nvidia,pull-down-strength = <0x10>;
				nvidia,pull-up-strength = <0x10>;
			};

			/* Charger IC (BQ24193) Battery Charge Enable */
			cam_flash_en_ps6 { /* 31e8 */
				nvidia,pins = "cam_flash_en_ps6";
				nvidia,function = "rsvd2";
				nvidia,pull = <TEGRA_PIN_PULL_DOWN>;
				nvidia,tristate = <TEGRA_PIN_DISABLE>;
				nvidia,enable-input = <TEGRA_PIN_DISABLE>;
				nvidia,pull-down-strength = <0x10>;
				nvidia,pull-up-strength = <0x10>;
			};

			/* Fan Tachometer */
			cam1_pwdn_ps7 { /* 31ec */
				nvidia,pins = "cam1_pwdn_ps7";
				nvidia,function = "rsvd1";
				nvidia,pull = <TEGRA_PIN_PULL_NONE>;
				nvidia,tristate = <TEGRA_PIN_ENABLE>;
				nvidia,enable-input = <TEGRA_PIN_ENABLE>;
			};

			/* Sio BOOT0 */
			cam2_pwdn_pt0 { /* 31f0 */
				nvidia,pins = "cam2_pwdn_pt0";
				nvidia,function = "rsvd1";
				nvidia,pull = <TEGRA_PIN_PULL_DOWN>;
				nvidia,tristate = <TEGRA_PIN_DISABLE>;
				nvidia,enable-input = <TEGRA_PIN_DISABLE>;
			};

			/* Sio RST */
			cam1_strobe_pt1 { /* 31f4 */
				nvidia,pins = "cam1_strobe_pt1";
				nvidia,function = "rsvd1";
				nvidia,pull = <TEGRA_PIN_PULL_DOWN>;
				nvidia,tristate = <TEGRA_PIN_DISABLE>;
				nvidia,enable-input = <TEGRA_PIN_DISABLE>;
			};

			/* 5V Regulator - Battery */
			sata_led_active_pa5 { /* 304c */
				nvidia,pins = "sata_led_active_pa5";
				nvidia,function = "rsvd1";
				nvidia,pull = <TEGRA_PIN_PULL_NONE>;
				nvidia,tristate = <TEGRA_PIN_DISABLE>;
				nvidia,enable-input = <TEGRA_PIN_DISABLE>;
			};

			als_prox_int_px3 { /* 3228 */
				nvidia,pins = "als_prox_int_px3";
				nvidia,function = "rsvd0";
				nvidia,pull = <TEGRA_PIN_PULL_DOWN>;
				nvidia,tristate = <TEGRA_PIN_DISABLE>;
				nvidia,enable-input = <TEGRA_PIN_DISABLE>;
			};

			/* Temperature Sensor (TMP451) Alert */
			temp_alert_px4 { /* 322c */
				nvidia,pins = "temp_alert_px4";
				nvidia,function = "rsvd0";
				nvidia,pull = <TEGRA_PIN_PULL_UP>;
				nvidia,tristate = <TEGRA_PIN_ENABLE>;
				nvidia,enable-input = <TEGRA_PIN_ENABLE>;
			};

			/* Motion IRQ */
			motion_int_px2 { /* 3224 */
				nvidia,pins = "motion_int_px2";
				nvidia,function = "rsvd0";
				nvidia,pull = <TEGRA_PIN_PULL_DOWN>;
				nvidia,tristate = <TEGRA_PIN_ENABLE>;
				nvidia,enable-input = <TEGRA_PIN_ENABLE>;
			};

			/* Audio Codec (ALC5639) Headphone Detect */
			touch_rst_pv6 { /* 3214 */
				nvidia,pins = "touch_rst_pv6";
				nvidia,function = "rsvd0";
				nvidia,pull = <TEGRA_PIN_PULL_NONE>;
				nvidia,tristate = <TEGRA_PIN_ENABLE>;
				nvidia,enable-input = <TEGRA_PIN_ENABLE>;
			};

			/* Sio ext2 clk input */
			touch_clk_pv7 { /* 3218 */
				nvidia,pins = "touch_clk_pv7";
				nvidia,function = "touch";
				nvidia,pull = <TEGRA_PIN_PULL_DOWN>;
				nvidia,tristate = <TEGRA_PIN_DISABLE>;
				nvidia,enable-input = <TEGRA_PIN_DISABLE>;
				nvidia,pull-down-strength = <0x14>;
				nvidia,pull-up-strength = <0x14>;
			};

			/* Touchscreen (4CD60D) IRQ */
			touch_int_px1 { /* 3220 */
				nvidia,pins = "touch_int_px1";
				nvidia,function = "rsvd0";
				nvidia,pull = <TEGRA_PIN_PULL_UP>;
				nvidia,tristate = <TEGRA_PIN_ENABLE>;
				nvidia,enable-input = <TEGRA_PIN_ENABLE>;
			};

			modem_wake_ap_px0 { /* 321c */
				nvidia,pins = "modem_wake_ap_px0";
				nvidia,function = "rsvd0";
				nvidia,pull = <TEGRA_PIN_PULL_DOWN>;
				nvidia,tristate = <TEGRA_PIN_ENABLE>;
				nvidia,enable-input = <TEGRA_PIN_DISABLE>;
			};

			/* Power Button */
			button_power_on_px5 { /* 3230 */
				nvidia,pins = "button_power_on_px5";
				nvidia,function = "rsvd0";
				nvidia,pull = <TEGRA_PIN_PULL_NONE>;
				nvidia,tristate = <TEGRA_PIN_ENABLE>;
				nvidia,enable-input = <TEGRA_PIN_ENABLE>;
			};

			/* Volume Up Button */
			button_vol_up_px6 { /* 3234 */
				nvidia,pins = "button_vol_up_px6";
				nvidia,function = "rsvd0";
				nvidia,pull = <TEGRA_PIN_PULL_UP>;
				nvidia,tristate = <TEGRA_PIN_ENABLE>;
				nvidia,enable-input = <TEGRA_PIN_ENABLE>;
			};

			/* Volume Down Button */
			button_vol_down_px7 { /* 3238 */
				nvidia,pins = "button_vol_down_px7";
				nvidia,function = "rsvd0";
				nvidia,pull = <TEGRA_PIN_PULL_UP>;
				nvidia,tristate = <TEGRA_PIN_ENABLE>;
				nvidia,enable-input = <TEGRA_PIN_ENABLE>;
			};

			/* Home Button (RCM) */
			button_home_py1 { /* 3240 */
				nvidia,pins = "button_home_py1";
				nvidia,function = "rsvd0";
				nvidia,pull = <TEGRA_PIN_PULL_UP>;
				nvidia,tristate = <TEGRA_PIN_ENABLE>;
				nvidia,enable-input = <TEGRA_PIN_ENABLE>;
			};

			/* LCD Backlight Power Enable */
			lcd_bl_en_pv1 { /* 3200 */
				nvidia,pins = "lcd_bl_en_pv1";
				nvidia,function = "rsvd0";
				nvidia,pull = <TEGRA_PIN_PULL_DOWN>;
				nvidia,tristate = <TEGRA_PIN_DISABLE>;
				nvidia,enable-input = <TEGRA_PIN_DISABLE>;
			};

			/* LCD Reset */
			lcd_rst_pv2 { /* 3204 */
				nvidia,pins = "lcd_rst_pv2";
				nvidia,function = "rsvd0";
				nvidia,pull = <TEGRA_PIN_PULL_DOWN>;
				nvidia,tristate = <TEGRA_PIN_DISABLE>;
				nvidia,enable-input = <TEGRA_PIN_DISABLE>;
			};

			/* USB-PD (BM92T36) Reset */
			ap_ready_pv5 { /* 3210 */
				nvidia,pins = "ap_ready_pv5";
				nvidia,function = "rsvd0";
				nvidia,pull = <TEGRA_PIN_PULL_DOWN>;
				nvidia,tristate = <TEGRA_PIN_DISABLE>;
				nvidia,enable-input = <TEGRA_PIN_DISABLE>;
			};

			/* Charger IC (BQ24193) IRQ */
			pz0 { /* 327c */
				nvidia,pins = "pz0";
				nvidia,function = "rsvd1";
				nvidia,pull = <TEGRA_PIN_PULL_NONE>;
				nvidia,tristate = <TEGRA_PIN_ENABLE>;
				nvidia,enable-input = <TEGRA_PIN_ENABLE>;
			};

			/* SD Card Write Protect */
			pz3 { /* 3288 */
				nvidia,pins = "pz3";
				nvidia,function = "rsvd1";
				nvidia,pull = <TEGRA_PIN_PULL_UP>;
				nvidia,tristate = <TEGRA_PIN_ENABLE>;
				nvidia,enable-input = <TEGRA_PIN_ENABLE>;
			};

			/* USB-PD (BM92T36) IRQ */
			pk4 { /* 3264 */
				nvidia,pins = "pk4";
				nvidia,function = "rsvd1";
				nvidia,pull = <TEGRA_PIN_PULL_UP>;
				nvidia,tristate = <TEGRA_PIN_ENABLE>;
				nvidia,enable-input = <TEGRA_PIN_ENABLE>;
			};

			/* USB-PD (BM92T36) VCONN Power Enable */
			pk5 { /* 3268 */
				nvidia,pins = "pk5";
				nvidia,function = "rsvd1";
				nvidia,pull = <TEGRA_PIN_PULL_DOWN>;
				nvidia,tristate = <TEGRA_PIN_DISABLE>;
				nvidia,enable-input = <TEGRA_PIN_DISABLE>;
			};

			/* PMIC CPU (MAX77621_CPU) IRQ */
			pk6 { /* 326c */
				nvidia,pins = "pk6";
				nvidia,function = "rsvd1";
				nvidia,pull = <TEGRA_PIN_PULL_UP>;
				nvidia,tristate = <TEGRA_PIN_ENABLE>;
				nvidia,enable-input = <TEGRA_PIN_ENABLE>;
			};

			/* NFC Reset */
			pk7 { /* 3270 */
				nvidia,pins = "pk7";
				nvidia,function = "rsvd1";
				nvidia,pull = <TEGRA_PIN_PULL_DOWN>;
				nvidia,tristate = <TEGRA_PIN_DISABLE>;
				nvidia,enable-input = <TEGRA_PIN_DISABLE>;
			};

			pl0 { /* 3274 */
				nvidia,pins = "pl0";
				nvidia,function = "rsvd0";
				nvidia,pull = <TEGRA_PIN_PULL_DOWN>;
				nvidia,tristate = <TEGRA_PIN_ENABLE>;
				nvidia,enable-input = <TEGRA_PIN_DISABLE>;
			};

			/* Wi-Fi RF Disable */
			wifi_en_ph0 { /* 31b4 */
				nvidia,pins = "wifi_en_ph0";
				nvidia,function = "rsvd0";
				nvidia,pull = <TEGRA_PIN_PULL_DOWN>;
				nvidia,tristate = <TEGRA_PIN_DISABLE>;
				nvidia,enable-input = <TEGRA_PIN_DISABLE>;
			};

			/* Wi-Fi Reset */
			wifi_rst_ph1 { /* 31b8 */
				nvidia,pins = "wifi_rst_ph1";
				nvidia,function = "rsvd0";
				nvidia,pull = <TEGRA_PIN_PULL_DOWN>;
				nvidia,tristate = <TEGRA_PIN_DISABLE>;
				nvidia,enable-input = <TEGRA_PIN_DISABLE>;
			};

			/* Wi-Fi Wake Host */
			wifi_wake_ap_ph2 { /* 31bc */
				nvidia,pins = "wifi_wake_ap_ph2";
				nvidia,function = "rsvd0";
				nvidia,pull = <TEGRA_PIN_PULL_DOWN>;
				nvidia,tristate = <TEGRA_PIN_ENABLE>;
				nvidia,enable-input = <TEGRA_PIN_ENABLE>;
			};

			/* Bluetooth - AP -> Wake BT Module */
			ap_wake_bt_ph3 { /* 31c0 */
				nvidia,pins = "ap_wake_bt_ph3";
				nvidia,function = "rsvd0";
				nvidia,pull = <TEGRA_PIN_PULL_DOWN>;
				nvidia,tristate = <TEGRA_PIN_DISABLE>;
				nvidia,enable-input = <TEGRA_PIN_DISABLE>;
			};

			/* Bluetooth Reset */
			bt_rst_ph4 { /* 31c4 */
				nvidia,pins = "bt_rst_ph4";
				nvidia,function = "rsvd0";
				nvidia,pull = <TEGRA_PIN_PULL_DOWN>;
				nvidia,tristate = <TEGRA_PIN_DISABLE>;
				nvidia,enable-input = <TEGRA_PIN_DISABLE>;
			};

			/* Bluetooth - BT Module -> Wake AP */
			bt_wake_ap_ph5 { /* 31c8 */
				nvidia,pins = "bt_wake_ap_ph5";
				nvidia,function = "rsvd0";
				nvidia,pull = <TEGRA_PIN_PULL_NONE>;
				nvidia,tristate = <TEGRA_PIN_ENABLE>;
				nvidia,enable-input = <TEGRA_PIN_ENABLE>;
			};

			/* Joycon (R) Wake Detect */
			ph6 { /* 3250 */
				nvidia,pins = "ph6";
				nvidia,function = "rsvd0";
				nvidia,pull = <TEGRA_PIN_PULL_NONE>;
				nvidia,tristate = <TEGRA_PIN_ENABLE>;
				nvidia,enable-input = <TEGRA_PIN_ENABLE>;
			};

			/* Bluetooth GPIO5 */
			ap_wake_nfc_ph7 { /* 31cc */
				nvidia,pins = "ap_wake_nfc_ph7";
				nvidia,function = "rsvd0";
				nvidia,pull = <TEGRA_PIN_PULL_NONE>;
				nvidia,tristate = <TEGRA_PIN_DISABLE>;
				nvidia,enable-input = <TEGRA_PIN_DISABLE>;
			};

			/* LCD Power Enable +5V */
			nfc_en_pi0 { /* 31d0 */
				nvidia,pins = "nfc_en_pi0";
				nvidia,function = "rsvd0";
				nvidia,pull = <TEGRA_PIN_PULL_DOWN>;
				nvidia,tristate = <TEGRA_PIN_DISABLE>;
				nvidia,enable-input = <TEGRA_PIN_DISABLE>;
			};

			/* LCD Power Enable -5V */
			nfc_int_pi1 { /* 31d4 */
				nvidia,pins = "nfc_int_pi1";
				nvidia,function = "rsvd0";
				nvidia,pull = <TEGRA_PIN_PULL_DOWN>;
				nvidia,tristate = <TEGRA_PIN_DISABLE>;
				nvidia,enable-input = <TEGRA_PIN_DISABLE>;
			};

			gps_en_pi2 { /* 31d8 */
				nvidia,pins = "gps_en_pi2";
				nvidia,function = "rsvd0";
				nvidia,pull = <TEGRA_PIN_PULL_DOWN>;
				nvidia,tristate = <TEGRA_PIN_ENABLE>;
				nvidia,enable-input = <TEGRA_PIN_DISABLE>;
			};

			pcc7 { /* 3194 */
				nvidia,pins = "pcc7";
				nvidia,function = "rsvd0";
				nvidia,pull = <TEGRA_PIN_PULL_DOWN>;
				nvidia,tristate = <TEGRA_PIN_ENABLE>;
				nvidia,enable-input = <TEGRA_PIN_DISABLE>;
				nvidia,io-high-voltage = <TEGRA_PIN_ENABLE>;
			};

			dp_hpd0_pcc6 { /* 31b0 */
				nvidia,pins = "dp_hpd0_pcc6";
				nvidia,function = "rsvd1";
				nvidia,pull = <TEGRA_PIN_PULL_DOWN>;
				nvidia,tristate = <TEGRA_PIN_ENABLE>;
				nvidia,enable-input = <TEGRA_PIN_DISABLE>;
			};

			hdmi_int_dp_hpd_pcc1 { /* 319c */
				nvidia,pins = "hdmi_int_dp_hpd_pcc1";
				nvidia,function = "rsvd1";
				nvidia,pull = <TEGRA_PIN_PULL_DOWN>;
				nvidia,tristate = <TEGRA_PIN_ENABLE>;
				nvidia,enable-input = <TEGRA_PIN_DISABLE>;
				nvidia,io-high-voltage = <TEGRA_PIN_ENABLE>;
			};

			/* Fuel Gauge IC (MAX17050) IRQ */
			button_slide_sw_py0 { /* 323c */
				nvidia,pins = "button_slide_sw_py0";
				nvidia,function = "rsvd0";
				nvidia,pull = <TEGRA_PIN_PULL_NONE>;
				nvidia,tristate = <TEGRA_PIN_ENABLE>;
				nvidia,enable-input = <TEGRA_PIN_ENABLE>;
			};

			/* Sio IRQ */
			pe7 { /* 324c */
				nvidia,pins = "pe7";
				nvidia,function = "rsvd0";
				nvidia,pull = <TEGRA_PIN_PULL_UP>;
				nvidia,tristate = <TEGRA_PIN_ENABLE>;
				nvidia,enable-input = <TEGRA_PIN_ENABLE>;
			};

			/* Sio HOME button */
			lcd_gpio1_pv3 { /* 3208 */
				nvidia,pins = "lcd_gpio1_pv3";
				nvidia,function = "rsvd1";
				nvidia,pull = <TEGRA_PIN_PULL_UP>;
				nvidia,tristate = <TEGRA_PIN_ENABLE>;
				nvidia,enable-input = <TEGRA_PIN_ENABLE>;
			};

			/* Unused SPI2 pins */
			spi2_mosi_pb4 { /* 3064 */
				nvidia,pins = "spi2_mosi_pb4";
				nvidia,function = "rsvd2";
				nvidia,pull = <TEGRA_PIN_PULL_DOWN>;
				nvidia,tristate = <TEGRA_PIN_ENABLE>;
				nvidia,enable-input = <TEGRA_PIN_DISABLE>;
			};

			spi2_miso_pb5 { /* 3068 */
				nvidia,pins = "spi2_miso_pb5";
				nvidia,function = "rsvd2";
				nvidia,pull = <TEGRA_PIN_PULL_DOWN>;
				nvidia,tristate = <TEGRA_PIN_ENABLE>;
				nvidia,enable-input = <TEGRA_PIN_DISABLE>;
			};

			spi2_sck_pb6 { /* 306c */
				nvidia,pins = "spi2_sck_pb6";
				nvidia,function = "rsvd2";
				nvidia,pull = <TEGRA_PIN_PULL_DOWN>;
				nvidia,tristate = <TEGRA_PIN_ENABLE>;
				nvidia,enable-input = <TEGRA_PIN_DISABLE>;
			};

			spi2_cs0_pb7 { /* 3070 */
				nvidia,pins = "spi2_cs0_pb7";
				nvidia,function = "rsvd2";
				nvidia,pull = <TEGRA_PIN_PULL_DOWN>;
				nvidia,tristate = <TEGRA_PIN_ENABLE>;
				nvidia,enable-input = <TEGRA_PIN_DISABLE>;
			};

			spi2_cs1_pdd0 { /* 3074 */
				nvidia,pins = "spi2_cs1_pdd0";
				nvidia,function = "rsvd1";
				nvidia,pull = <TEGRA_PIN_PULL_DOWN>;
				nvidia,tristate = <TEGRA_PIN_ENABLE>;
				nvidia,enable-input = <TEGRA_PIN_DISABLE>;
			};
		};
	};

    /* Joycon/Fan power (usb) */
	v_vdd50_b: regulator@0xa {
		status = "disabled"; /* Only enabled on Odin/Modin */
	};

	en_vdd_jcl_chgr: regulator@0xe {
		status = "disabled"; /* Only enabled on Odin/Modin/Fric */
	};

	en_vdd_jcr_chgr: regulator@0xf {
		status = "disabled"; /* Only enabled on Odin/Modin/Fric */
	};

	spi@7000da00 {
		status = "disabled"; /* Disabled for Vali since Sio uses it */
	};

	/* Right Joycon */
	serial@70006040 {
		status = "disabled";

		joyconr {
			status = "disabled";
		};
	};

	/* Left Joycon / Sio */
	serial@70006200 {
		status = "okay";
		/delete-property/ nvidia,invert-txd;
		/delete-property/ nvidia,invert-rts;

		joyconl {
			status = "disabled";
		};

		sio {
			status = "okay";
		};
	};

	i2c@7000c000 {
		bm92t: bm92t@18 {
			status = "okay";
			/delete-property/ rohm,dp-signal-toggle-on-resume;
			rohm,dp-disable;
			rohm,pd-5v-current-limit-ma = <2000>;
			rohm,pd-9v-current-limit-ma = <1500>;
			rohm,pd-12v-current-limit-ma = <1200>;
			rohm,pd-15v-current-limit-ma = <900>;
		};

		bq2419x: bq24193@6b {
			battery_charger: charger {
				ti,charge-voltage-limit-millivolt = <4320>; /* Adjusted by cell age */
				ti,fast-charge-current-limit-milliamp = <1664>;
				ti,temp-range = <0 18 47 58>;
				ti,charge-thermal-voltage-limit = <4320 4320 4320 4080>; /* Adjusted by cell age */
				ti,charge-current-limit = <512 640 1664 1664>;
			};
		};

		fuel_gauge: fuel-gauge@36 {
			maxim,over-volt = <4320>; /* Actual: 4370 mV */
			maxim,kernel-maximum-soc = <100>; /* Adjusted by cell age */
		};
	};

	i2c@7000d000 {
		pmic_b: pmic@3c {
			regulators {
				/* Vali: Powers LDO 2V8 for Sio VDD
				 * Powers LDO 1V8 for I2C1 VDDQ and ALC5639.
				 */
				ldo8 {
					regulator-name = "vdd-i2c1";
					regulator-max-microvolt = <2800000>;
					regulator-always-on;
					regulator-boot-on;
				};
			};
		};
	};

	i2c@546c0000 {
		bus-pullup-supply = <&battery_reg>;
	};

	host1x@50000000 {
		/* tegradc.1: DP */
		dc@54240000 {
			status = "disabled";
		};
	};

	xusb: usb@70090000 {
		status = "okay";

		phys = <&{/padctl@7009f000/pads/usb2/lanes/usb2-0}>,
			<&{/padctl@7009f000/pads/pcie/lanes/pcie-5}>;
		phy-names = "usb2-0", "usb3-0";

		avdd-usb-supply = <&vdd_3v3>;
		dvddio-pex-supply = <&max77620_ldo1>;
		hvddio-pex-supply = <&max77620_sd3>;
	};

	xudc: usb@700d0000 {
		status = "okay";

		phys = <&{/padctl@7009f000/pads/usb2/lanes/usb2-0}>,
			<&{/padctl@7009f000/pads/pcie/lanes/pcie-5}>;
		phy-names = "usb2-0", "usb3-0";

		hvdd-usb-supply = <&vdd_3v3>;
		avddio-usb-supply = <&max77620_ldo1>;
	};

	padctl@7009f000 {
		status =  "okay";

		avdd-pll-utmip-supply = <&max77620_sd3>;
		avdd-pll-uerefe-supply = <&max77620_ldo1>;
		dvdd-pex-pll-supply = <&max77620_ldo1>;
		hvdd-pex-pll-e-supply = <&max77620_sd3>;
	};

	serial@70006300 {
		bluetooth {
			vbat-supply = <&battery_reg>;
			vddio-supply = <&max77620_sd3>;
		};
	};

	gpio@6000d000 {
		boot-default-input {
			gpio-hog;
			input;
			gpios = <
				TEGRA_GPIO(E, 6) GPIO_ACTIVE_LOW /* Joycon (L) Wake Detect */
				TEGRA_GPIO(H, 6) GPIO_ACTIVE_LOW /* Joycon (R) Wake Detect */
				TEGRA_GPIO(Y, 1) GPIO_ACTIVE_LOW /* Home Button (RCM) */
				TEGRA_GPIO(S, 1) GPIO_ACTIVE_LOW /* Charger IC (BQ24193) Battery Charge Status */
				TEGRA_GPIO(S, 3) GPIO_ACTIVE_LOW /* Gamecard Detect */
				TEGRA_GPIO(Z, 3) GPIO_ACTIVE_LOW /* SD Card Write Protected */
				TEGRA_GPIO(H, 2) GPIO_ACTIVE_LOW /* Wi-Fi Wake Host */
				TEGRA_GPIO(K, 0) GPIO_ACTIVE_HIGH /* Bluetooth Gpio2 */
				TEGRA_GPIO(K, 1) GPIO_ACTIVE_HIGH /* Bluetooth Gpio3 */
				TEGRA_GPIO(K, 2) GPIO_ACTIVE_HIGH /* Bluetooth Gpio4 */
				TEGRA_GPIO(E, 7) GPIO_ACTIVE_HIGH /* Sio IRQ */
				TEGRA_GPIO(J, 4) GPIO_ACTIVE_HIGH /* NFC IRQ */
				TEGRA_GPIO(C, 5) GPIO_ACTIVE_HIGH /* SPI4 SCLK (Used by SIO) */
				TEGRA_GPIO(C, 6) GPIO_ACTIVE_HIGH /* SPI4 CS0  (Used by SIO) */
				TEGRA_GPIO(C, 7) GPIO_ACTIVE_HIGH /* SPI4 MOSI (Used by SIO) */
				TEGRA_GPIO(D, 0) GPIO_ACTIVE_HIGH /* SPI4 MISO (Used by SIO) */
				TEGRA_GPIO(E, 0) GPIO_ACTIVE_HIGH /* Debug 0 */
				TEGRA_GPIO(E, 1) GPIO_ACTIVE_HIGH /* Debug 1 */
				TEGRA_GPIO(E, 2) GPIO_ACTIVE_HIGH /* Debug 2 */
				TEGRA_GPIO(E, 3) GPIO_ACTIVE_HIGH /* Debug 3 */
			>;
			line-name = "boot-default-input";
		};

		boot-default-output-low {
			gpio-hog;
			output-low;
			gpios = <
				TEGRA_GPIO(BB, 3) GPIO_ACTIVE_HIGH /* Gamecard Reset */
				TEGRA_GPIO(V, 5) GPIO_ACTIVE_HIGH /* USB-PD (BM92T36) Reset */
				TEGRA_GPIO(J, 5) GPIO_ACTIVE_HIGH /* Charger IC (BQ24193) Charge Select 1 */
				TEGRA_GPIO(L, 0) GPIO_ACTIVE_HIGH /* Charger IC (BQ24193) Charge Select 2 */
				TEGRA_GPIO(H, 0) GPIO_ACTIVE_HIGH /* Wi-Fi RF Disable */
				TEGRA_GPIO(H, 7) GPIO_ACTIVE_HIGH /* TODO: What's this? Bluetooth Gpio5 */
				TEGRA_GPIO(T, 0) GPIO_ACTIVE_HIGH /* Sio BOOT0 */
				TEGRA_GPIO(J, 6) GPIO_ACTIVE_HIGH /* NFC Power enable */
				TEGRA_GPIO(K, 7) GPIO_ACTIVE_HIGH /* NFC Reset */
			>;
			line-name = "boot-default-output-low";
		};
	};
};
